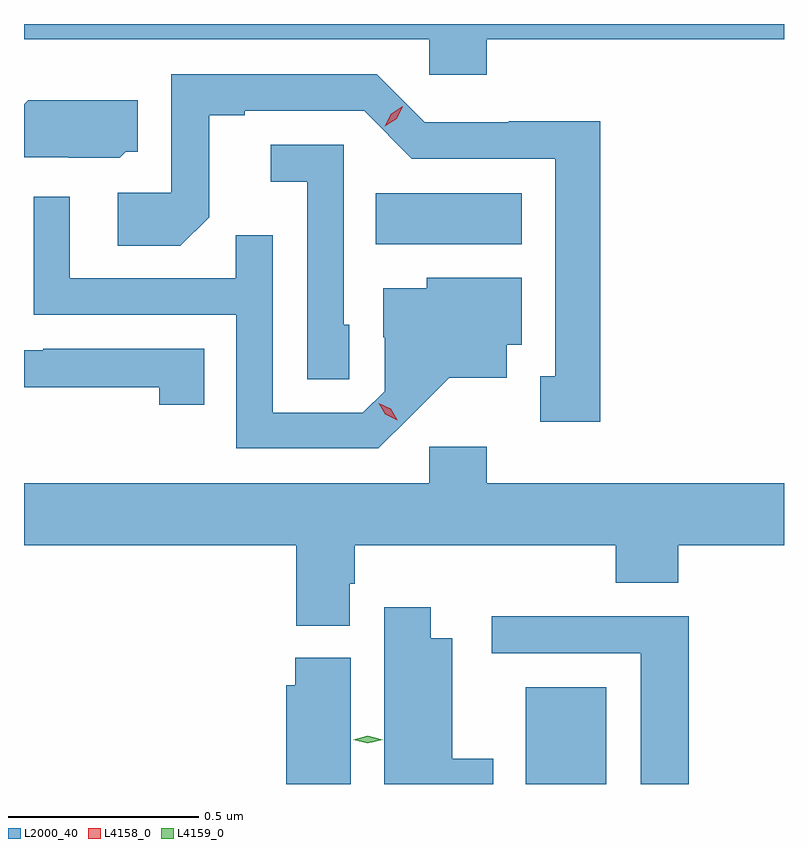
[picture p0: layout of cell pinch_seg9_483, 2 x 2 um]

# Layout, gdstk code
import gdstk
lib = gdstk.Library(unit=1e-6, precision=1e-09)
def R(c, l, rs):  # rectangles x0, y0, x1, y1
    for r in rs: c.add(gdstk.rectangle(r[:2], r[2:], *l))
def P(c, l, *ps):  # polygons
    for p in ps: c.add(gdstk.Polygon(p, *l))
L2000_40 = (2000, 40)
L4158_0 = (4158, 0)
L4159_0 = (4159, 0)

pinch_seg9_483 = lib.new_cell('pinch_seg9_483')
R(pinch_seg9_483, L2000_40, [(255.644,1195.792,255.856,1196.047), (255.25,1197.212,255.634,1197.346)])
P(pinch_seg9_483, L2000_40, [(255.542,1197.752),(256.324,1197.752),(256.324,1197.792),(254.324,1197.792),(254.324,1197.752),(255.39,1197.752),(255.39,1197.659),(255.542,1197.659)],
  [(255.841,1197.536),(255.6,1197.536),(255.6,1197.534),(255.378,1197.534),(255.252,1197.66),(254.712,1197.66),(254.712,1197.348),(254.571,1197.348),(254.571,1197.208),(254.735,1197.208),(254.811,1197.284),(254.811,1197.552),(254.905,1197.552),(254.905,1197.564),(255.219,1197.564),(255.345,1197.438),(255.722,1197.438),(255.722,1196.865),(255.683,1196.865),(255.683,1196.745),(255.841,1196.745)],
  [(254.592,1197.456),(254.623,1197.456),(254.623,1197.592),(254.335,1197.592),(254.324,1197.581),(254.324,1197.441),(254.442,1197.441),(254.442,1197.44),(254.576,1197.44)],
  [(255.18,1197),(255.165,1197),(255.165,1197.474),(254.973,1197.474),(254.973,1197.377),(255.069,1197.377),(255.069,1196.857),(255.18,1196.857)],
  [(255.34,1196.759),(255.443,1196.861),(255.595,1196.861),(255.595,1196.948),(255.634,1196.948),(255.634,1197.124),(255.384,1197.124),(255.384,1197.097),(255.269,1197.097),(255.269,1196.968),(255.273,1196.968),(255.273,1196.826),(255.216,1196.769),(254.979,1196.769),(254.979,1197.236),(254.881,1197.236),(254.881,1197.123),(254.445,1197.123),(254.445,1197.337),(254.349,1197.337),(254.349,1197.027),(254.883,1197.027),(254.883,1196.676),(255.256,1196.676)],
  [(254.798,1196.937),(254.374,1196.937),(254.374,1196.934),(254.324,1196.934),(254.324,1196.836),(254.68,1196.836),(254.68,1196.79),(254.798,1196.79)],
  [(255.181,1196.319),(255.194,1196.319),(255.194,1196.42),(255.881,1196.42),(255.881,1196.321),(256.046,1196.321),(256.046,1196.42),(256.324,1196.42),(256.324,1196.584),(255.542,1196.584),(255.542,1196.68),(255.39,1196.68),(255.39,1196.584),(254.324,1196.584),(254.324,1196.42),(255.041,1196.42),(255.041,1196.209),(255.181,1196.209)],
  [(255.559,1195.858),(255.451,1195.858),(255.451,1196.176),(255.394,1196.176),(255.394,1196.257),(255.272,1196.257),(255.272,1195.792),(255.559,1195.792)],
  [(256.073,1196.234),(255.555,1196.234),(255.555,1196.136),(255.947,1196.136),(255.947,1195.792),(256.073,1195.792)],
  [(255.184,1196.124),(255.038,1196.124),(255.038,1196.052),(255.014,1196.052),(255.014,1195.792),(255.184,1195.792)])
P(pinch_seg9_483, L4158_0, [(255.273,1197.523),(255.273,1197.523),(255.29,1197.556),(255.321,1197.576),(255.321,1197.576),(255.321,1197.576),(255.305,1197.543),(255.273,1197.523)],
  [(255.306,1196.749),(255.275,1196.765),(255.258,1196.794),(255.258,1196.794),(255.258,1196.794),(255.289,1196.779),(255.306,1196.75),(255.306,1196.749)])
P(pinch_seg9_483, L4159_0, [(255.229,1195.899),(255.19,1195.908),(255.19,1195.909),(255.19,1195.909),(255.229,1195.919),(255.268,1195.909),(255.268,1195.909),(255.268,1195.908)])

lib.write_gds('pinch_seg9_483.gds')
